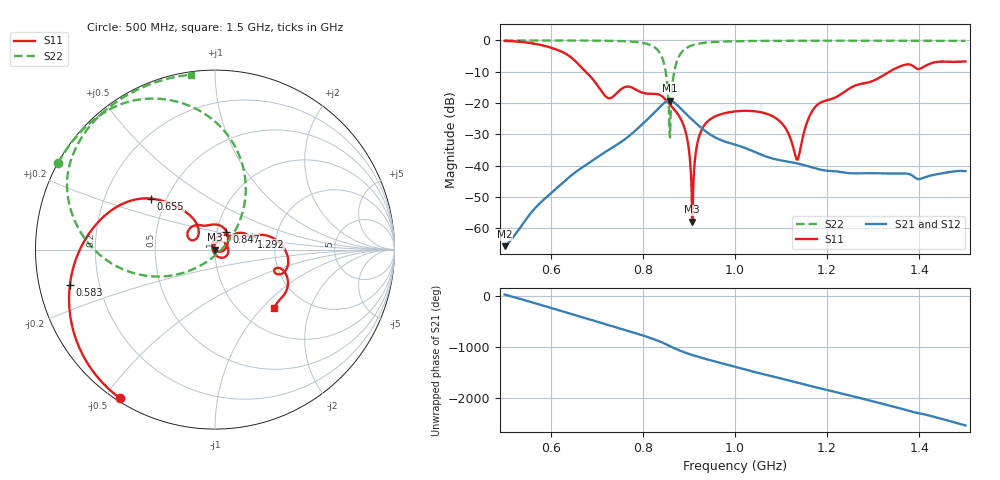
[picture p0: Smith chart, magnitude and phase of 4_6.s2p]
! TOUCHSTONE file generated by CST MICROWAVE STUDIO
! Date and time: Fri Oct  2 18:55:05 2020
! Project name: Scenario_1_Free_Space_out_of_line.cst
! Parameters = {Lambda=346.42; Step_1=17.321; dy1=295.617; dx1=1039; L_HA=400; MT=2.54; Rad_Dielectric=30; Rad_Lower=7.3; Rad_Upper=30; a_HA=580; a_WG=246; b_HA=500; b_WG=121; c_HA=0; c_WG=187; d_feed=85; h_feed=15; h_lower=18; h_upper=40}
! Header version: 2018
! Port assignment regex: !\s*Touchstone port\s*([0-9]+)\s*=\s*(CST MWS port|CST DS port)\s*([0-9]+|Zmin|Zmax)\s*\(\"(.*)\"\)(\s*mode\s*([0-9]+))?.*
! Touchstone port assignment:
! Touchstone port 1 = CST MWS port 1 ("")
! Touchstone port 2 = CST MWS port 2 ("")
# GHz S DB R 50
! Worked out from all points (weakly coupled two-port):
!   1003 points, 500 MHz to 1.5 GHz, reference 50 ohm
!   highest |S21| = -19.27 dB at 858 MHz (marker M1); lowest = -65.7 dB at 500 MHz (marker M2)
!   lowest |S11| = -57.9 dB at 907 MHz (marker M3), VSWR 1.00, Z = 50.1 - j0.0621 ohm
!   |S11| at or under -10 dB: 676.4 MHz to 1.335 GHz (658.2 MHz wide, 65.5 % of centre)
!   |S22| runs from -31.0 to 0.0 dB; largest |S21 - S12| = 0.00032
!   S11 on the Smith chart (normalised r, x): 500 MHz: 0.01, -0.55; 583 MHz: 0.09, -0.12; 655 MHz: 0.41, +0.30; 847 MHz: 1.11, +0.22; 1.292 GHz: 1.49, +0.23; 1.5 GHz: 1.42, -1.17
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0.5  -0.15 -122.5  -65.66 30.4  -65.59 30.2  -0.01 151.2
0.583  -1.60 -166.4  -51.08 174.7  -51.07 174.7  -0.02 145.4
0.655  -6.83 141.4  -41.92 -20.2  -41.91 -20.1  -0.04 139.5
0.667  -8.62 135.1  -40.68 -53.0  -40.67 -52.9  -0.04 138.4
0.725  -18.40 142.8  -34.99 150.3  -35.00 150.2  -0.12 131.6
0.791  -16.20 119.3  -27.81 -28.1  -27.80 -28.2  -0.58 116.6
0.834  -17.22 80.0  -21.66 -163.9  -21.66 -163.9  -3.41 86.6
0.847  -18.53 57.3  -19.88 145.3  -19.89 145.3  -8.09 64.2
0.858  -20.36 40.7  -19.27 97.2  -19.27 97.2  -29.53 -3.5
0.871  -22.57 22.0  -20.18 41.5  -20.17 41.5  -8.05 -158.1
0.891  -28.25 -15.6  -23.02 -30.2  -23.02 -30.2  -2.80 175.5
0.907  -57.86 -29.0  -25.30 -79.2  -25.30 -79.1  -1.57 164.5
0.911  -41.94 112.3  -25.84 -90.7  -25.84 -90.6  -1.39 162.5
0.919  -32.38 97.3  -26.91 -112.9  -26.91 -112.9  -1.09 158.9
0.931  -27.61 75.3  -28.40 -144.6  -28.40 -144.6  -0.80 154.5
1  -22.66 3.6  -33.25 48.6  -33.25 48.3  -0.27 140.3
1.091  -25.05 -54.0  -38.03 -163.2  -38.05 -163.1  -0.13 130.6
1.135  -38.10 -164.2  -39.24 96.5  -39.22 95.3  -0.10 126.8
1.167  -22.69 78.2  -40.51 22.9  -40.53 22.8  -0.10 124.3
1.292  -13.29 19.5  -42.37 104.9  -42.35 104.9  -0.08 114.7
1.334  -10.05 13.3  -42.47 6.9  -42.48 7.0  -0.09 111.5
1.5  -6.70 -44.5  -41.74 -27.5  -41.74 -27.5  -0.14 98.0
